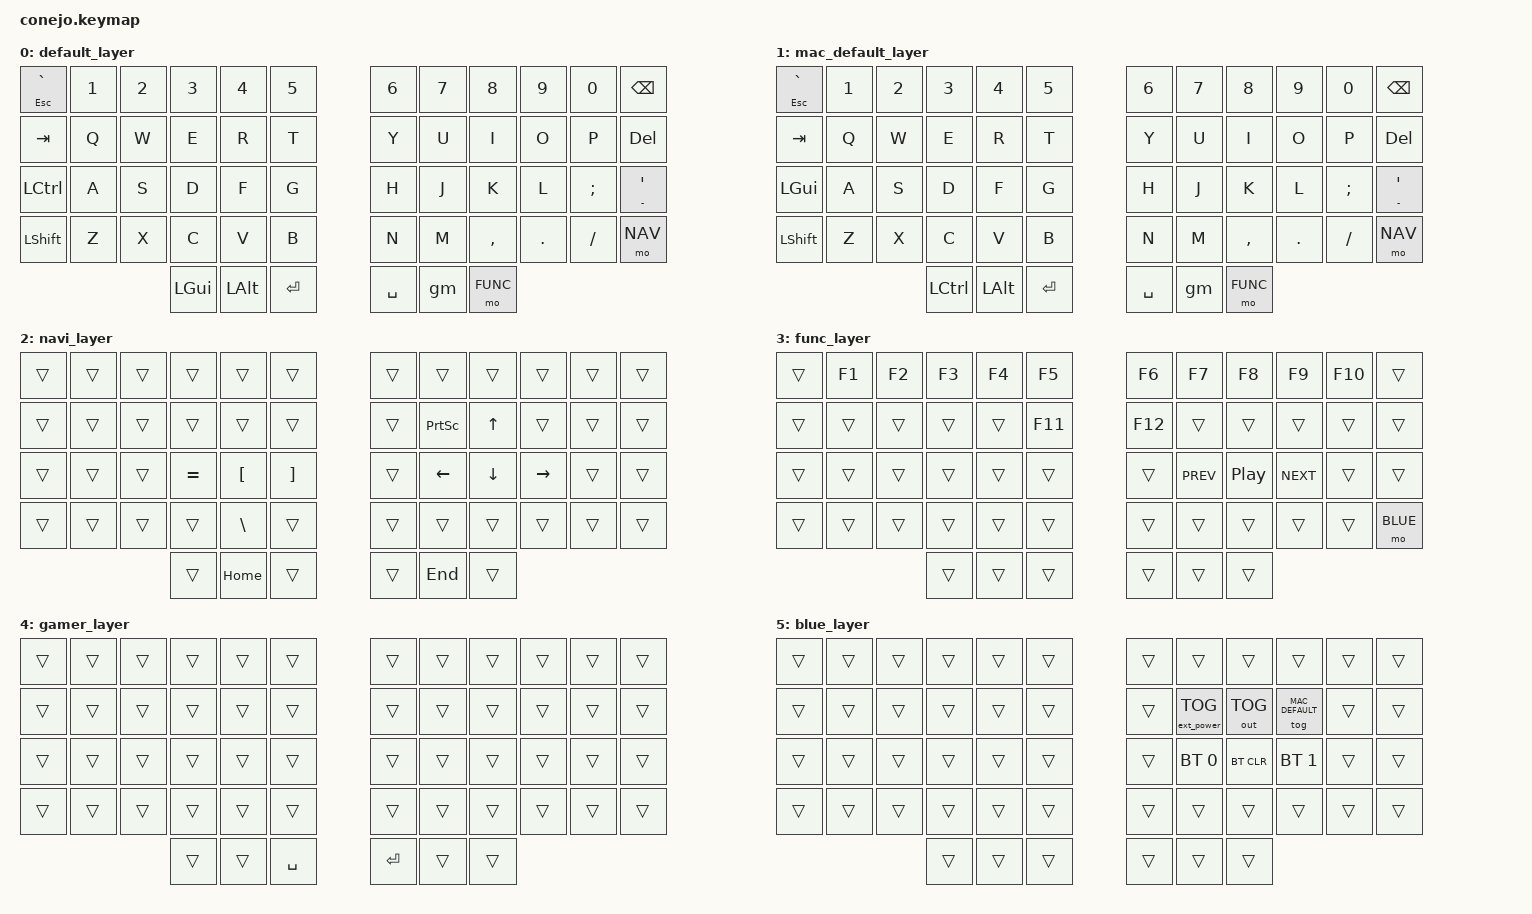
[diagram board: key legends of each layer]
/*
 * Copyright (c) 2022 Kurtis Lew
 *
 * SPDX-License-Identifier: MIT
 */

#include <behaviors.dtsi>
#include <dt-bindings/zmk/keys.h>
#include <dt-bindings/zmk/ext_power.h>
#include <dt-bindings/zmk/outputs.h>
#include <dt-bindings/zmk/rgb.h>
#include <dt-bindings/zmk/bt.h>

#define DEFAULT     0
#define MAC_DEFAULT 1
#define NAV         2
#define FUNC	    3
#define GAME	    4
#define BLUE        5

#define NONE 0

/ {
	behaviors {

		ht: hold_tap{
            compatible = "zmk,behavior-hold-tap";
            #binding-cells = <2>;
            tapping-term-ms = <150>;
            quick_tap_ms = <150>;
            flavor = "tap-preferred";
            bindings = <&kp>, <&kp>;
        };

		gm: gamer_mode {
            compatible = "zmk,behavior-tap-dance";
            #binding-cells = <0>;
            tapping-term-ms = <200>;
            bindings = <&kp RALT>, <&none>, <&tog GAME>;
        };
        
        qm: quot_min {
            compatible = "zmk,behavior-tap-dance";
            #binding-cells = <0>;
            tapping-term-ms = <150>;
            bindings = <&kp SQT>, <&kp MINUS>;
        };

    };

	keymap {
		compatible = "zmk,keymap";

		default_layer {
// +-------+-----+-----+------+------+------+                   +-------+-------+-------+------+-------+-------+
// |  ESC  |  1  |  2  |  3   |  4   |  5   |                   |  6    |  7    |  8    |  9   |   0   |  BKSP |
// |  TAB  |  Q  |  W  |  E   |  R   |  T   |                   |  Y    |  U    |  I    |  O   |   P   |  DEL  |
// |  CTRL |  A  |  S  |  D   |  F   |  G   |                   |  H    |  J    |  K    |  L   |   ;   |  QM   |
// | SHIFT |  Z  |  X  |  C   |  V   |  B   |  ENTER |  | SPACE |  N    |  M    |  ,    |  .   |   /   |  NAVI |
//                     		  | GUI  | ALT  |  ENTER |  | SPACE |AltGame| MEDIA |
			bindings = <
&ht ESC GRAVE &kp N1    &kp N2    &kp N3    &kp N4    &kp N5                        &kp N6    &kp N7    &kp N8     &kp N9    &kp N0    &kp BSPC
&kp TAB  	  &kp Q     &kp W     &kp E     &kp R     &kp T                         &kp Y     &kp U     &kp I      &kp O     &kp P     &kp DEL
&kp LCTRL 	  &kp A     &kp S     &kp D     &kp F     &kp G                         &kp H     &kp J     &kp K      &kp L     &kp SEMI  &ht MINUS SQT
&kp LSHIFT    &kp Z     &kp X     &kp C     &kp V     &kp B                         &kp N     &kp M     &kp COMMA  &kp DOT   &kp FSLH  &mo NAV
                   			 		        &kp LGUI  &kp LALT &kp RET   &kp SPACE  &gm       &mo FUNC
			>;
		};

        mac_default_layer {
// +-------+-----+-----+------+------+------+                   +-------+-------+-------+------+-------+-------+
// |  ESC  |  1  |  2  |  3   |  4   |  5   |                   |  6    |  7    |  8    |  9   |   0   |  BKSP |
// |  TAB  |  Q  |  W  |  E   |  R   |  T   |                   |  Y    |  U    |  I    |  O   |   P   |  DEL  |
// |  CTRL |  A  |  S  |  D   |  F   |  G   |                   |  H    |  J    |  K    |  L   |   ;   |  QM   |
// | SHIFT |  Z  |  X  |  C   |  V   |  B   |  ENTER |  | SPACE |  N    |  M    |  ,    |  .   |   /   |  NAVI |
//                     		  | GUI  | ALT  |  ENTER |  | SPACE |AltGame| MEDIA |
			bindings = <
&ht ESC GRAVE &kp N1    &kp N2    &kp N3    &kp N4    &kp N5                        &kp N6    &kp N7    &kp N8     &kp N9    &kp N0    &kp BSPC
&kp TAB  	  &kp Q     &kp W     &kp E     &kp R     &kp T                         &kp Y     &kp U     &kp I      &kp O     &kp P     &kp DEL
&kp LGUI 	  &kp A     &kp S     &kp D     &kp F     &kp G                         &kp H     &kp J     &kp K      &kp L     &kp SEMI  &ht MINUS SQT
&kp LSHIFT    &kp Z     &kp X     &kp C     &kp V     &kp B                         &kp N     &kp M     &kp COMMA  &kp DOT   &kp FSLH  &mo NAV
                   			 		        &kp LCTRL  &kp LALT &kp RET   &kp SPACE  &gm       &mo FUNC
			>;
		};

		navi_layer {
// +-------+-----+-----+------+------+------+                   +------+-------+-------+-------+-------+-------+
// |       |     |     |      |      |      |                   |      |       |       |       |       |       |
// |       |     |     |      |      |      |                   |      |       |  UP   |       |       |       |
// |       |     |  -  |  =   |  [   |  ]   |                   |      |  LEFT | DOWN  | RIGHT |       |       |
// |       |     |     |      |  \   |  "|" |       |   |       |      |       |       |       |       |       |
//                            |      |      |       |   |       |      |       |
			bindings = <
&trans   &trans    &trans    &trans    &trans     &trans                        &trans     &trans    &trans     &trans     &trans  &trans
&trans   &trans    &trans    &trans    &trans     &trans                        &trans     &kp PSCRN &kp UP     &trans     &trans  &trans
&trans   &trans    &trans    &kp EQUAL &kp LBKT   &kp RBKT                      &trans     &kp LEFT  &kp DOWN   &kp RIGHT  &trans  &trans
&trans   &trans    &trans    &trans    &kp BSLH   &trans                        &trans     &trans    &trans     &trans     &trans  &trans
                   		     		   &trans     &kp HOME    &trans   &trans   &kp END    &trans
			>;
		};

		func_layer {
// +-------+-----+-----+------+------+------+                   +------+-------+-------+------+-------+-------+
// |       |  F1 |  F2 |  F3  |  F4  |  F5  |                   |  F6  |  F7   |  F8   |  F9  |  F10  |       |
// |       |     |     |      |      |  F11 |                   |  F12 |       |       |      |       |       |
// |       |     |     |      |      |      |                   |      |       |  MPRV | MPLY |  MNXT |       |
// |       |     |     |      |      |      | ENTER |   | SPACE |      |       |       |      |       | BLUE  |
//                            |      |      | ENTER |   | SPACE |      |       |
			bindings = <
&trans     &kp F1     &kp F2     &kp F3     &kp F4    &kp F5                       &kp F6    &kp F7     &kp F8     &kp F9     &kp F10    &trans
&trans     &trans     &trans     &trans     &trans    &kp F11                      &kp F12   &trans     &trans     &trans     &trans     &trans
&trans     &trans     &trans     &trans     &trans    &trans                       &trans    &kp C_PREV &kp C_PP   &kp C_NEXT &trans	 &trans
&trans     &trans     &trans     &trans     &trans    &trans                       &trans    &trans     &trans     &trans     &trans     &mo BLUE
                   		     		        &trans    &trans  &trans      &trans   &trans    &trans
			>;
		};

		gamer_layer {
// +-------+-----+-----+------+------+------+                   +------+-------+-------+------+-------+-------+
// |       |     |     |      |      |      |                   |      |       |       |      |       |       |
// |       |     |     |      |      |      |                   |      |       |       |      |       |       |
// |       |     |     |      |      |      |                   |      |       |       |      |       |       |
// |       |     |     |      |      |      | SPACE |   | ENTER |      |       |       |      |       |       |
//                            |      |      | SPACE |   | ENTER |      |       |
			bindings = <
&trans     &trans     &trans     &trans     &trans    &trans                       &trans    &trans     &trans     &trans     &trans     &trans
&trans     &trans     &trans     &trans     &trans    &trans                       &trans    &trans     &trans     &trans     &trans     &trans
&trans     &trans     &trans     &trans     &trans    &trans                       &trans    &trans 	&trans     &trans     &trans	 &trans
&trans     &trans     &trans     &trans     &trans    &trans                       &trans    &trans     &trans     &trans     &trans     &trans
                   		     		        &trans    &trans  &kp SPACE  &kp RET   &trans    &trans
			>;
		};

		blue_layer {
// +-------+-----+-----+------+------+------+                   +------+--------+-------+--------+-------+-------+
// |       |     |     |      |      |      |                   |      |        |       |        |       |       |
// |       |     |     |      |      |      |                   |      |EP_TOG  |OUT_TOG|MAC_DEF |       |       |
// |       |     |     |      |      |      |                   |      |BT_SEL 0|BT_CLR |BT_SEL 1|       |       |
// |       |     |     |      |      |      | ENTER |   | SPACE |      |        |       |        |       |       |
//                            |      |      | ENTER |   | SPACE |      |        |
			bindings = <
&trans     &trans     &trans     &trans     &trans    &trans                       &trans    &trans             &trans          &trans                &trans     &trans
&trans     &trans     &trans     &trans     &trans    &trans                       &trans    &ext_power EP_TOG  &out OUT_TOG    &tog MAC_DEFAULT      &trans     &trans
&trans     &trans     &trans     &trans     &trans    &trans                       &trans    &bt BT_SEL 0       &bt BT_CLR      &bt BT_SEL 1          &trans	  &trans
&trans     &trans     &trans     &trans     &trans    &trans                       &trans    &trans             &trans          &trans                &trans     &trans
                   		     		        &trans    &trans  &trans      &trans   &trans    &trans
			>;
		};

	};
};
